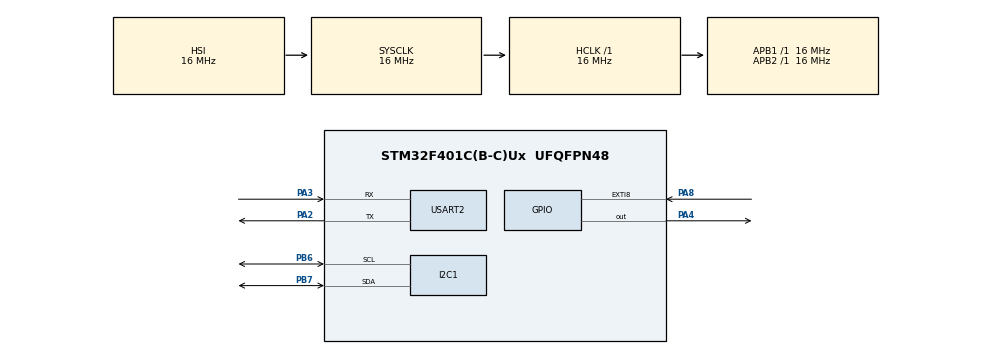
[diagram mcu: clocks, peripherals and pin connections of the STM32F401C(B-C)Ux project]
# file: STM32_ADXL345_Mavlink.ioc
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I2C1.I2C_Mode=I2C_Fast
Mcu.Family=STM32F4
Mcu.Name=STM32F401C(B-C)Ux
Mcu.Package=UFQFPN48
NVIC.EXTI9_5_IRQn=true\:0\:0\:false\:false\:true\:true\:true\:true
NVIC.PriorityGroup=NVIC_PRIORITYGROUP_4
NVIC.USART2_IRQn=true\:0\:0\:false\:false\:true\:true\:true\:true
PA13.Mode=Serial_Wire
PA13.Signal=SYS_JTMS-SWDIO
PA14.Mode=Serial_Wire
PA14.Signal=SYS_JTCK-SWCLK
PA2.Mode=Asynchronous
PA2.Signal=USART2_TX
PA3.Mode=Asynchronous
PA3.Signal=USART2_RX
PA4.GPIO_Speed=GPIO_SPEED_FREQ_HIGH
PA4.Signal=GPIO_Output
PA8.GPIO_PuPd=GPIO_PULLUP
PA8.Signal=GPXTI8
PB6.Mode=I2C
PB6.Signal=I2C1_SCL
PB7.Mode=I2C
PB7.Signal=I2C1_SDA
ProjectManager.HeapSize=0x200
ProjectManager.StackSize=0x400
ProjectManager.TargetToolchain=STM32CubeIDE
RCC.AHBFreq_Value=16000000
RCC.APB1Freq_Value=16000000
RCC.APB2Freq_Value=16000000
RCC.CortexFreq_Value=16000000
RCC.HSE_VALUE=25000000
RCC.HSI_VALUE=16000000
RCC.LSE_VALUE=32768
RCC.SYSCLKFreq_VALUE=16000000
RCC.VCOOutputFreq_Value=192000000
USART2.VirtualMode=VM_ASYNC
board=custom

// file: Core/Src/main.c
/* USER CODE BEGIN Header */
/**
  ******************************************************************************
  * @file           : main.c
  * @brief          : Main program body
  ******************************************************************************
  * @attention
  *
  * Copyright (c) 2025 STMicroelectronics.
  * All rights reserved.
  *
  * This software is licensed under terms that can be found in the LICENSE file
  * in the root directory of this software component.
  * If no LICENSE file comes with this software, it is provided AS-IS.
  *
  ******************************************************************************
  */
/* USER CODE END Header */
#include "main.h"

/* USER CODE BEGIN Includes */
#include "adxl345.h"
#include "adxl345/mavlink.h"
#include "adxl345/mavlink_msg_ins_accel.h"
/* USER CODE END Includes */

/* USER CODE BEGIN PD */
#define ACC_X_OFFSET -1.29
#define ACC_Y_OFFSET -2.8
#define ACC_Z_OFFSET 0
/* USER CODE END PD */

I2C_HandleTypeDef hi2c1;

UART_HandleTypeDef huart2;

void SystemClock_Config(void);
static void MX_GPIO_Init(void);
static void MX_USART2_UART_Init(void);
static void MX_I2C1_Init(void);

int main(void)
{

  /* MCU Configuration--------------------------------------------------------*/

  /* Reset of all peripherals, Initializes the Flash interface and the Systick. */
  HAL_Init();

  /* Configure the system clock */
  SystemClock_Config();

  /* Initialize all configured peripherals */
  MX_GPIO_Init();
  MX_USART2_UART_Init();
  MX_I2C1_Init();
  /* USER CODE BEGIN 2 */
  ADXL345_Init();

  uint8_t buf[MAVLINK_MAX_PACKET_LEN];
  mavlink_message_t msg;

  //float ax, ay, az; //переменные для хранения значений с аккселерометра

  //uint8_t devid = ADXL345_ReadDEVID();
  uint8_t devid = 0;
  if (ADXL345_ReadDEVID(&devid) == HAL_OK) {
      printf("ADXL345 DEVID: 0x%02X\n", devid);
  } else {
      printf("Ошибка чтения DEVID\n");
  }

  uint32_t last_time = 0; // переменная для работы счетчика
  const uint32_t interval_ms = 20; // 50 Гц - частота обновления данных аккселерометра

  void HAL_GPIO_EXTI_Callback(uint16_t GPIO_Pin)
  {
      if (GPIO_Pin == GPIO_PIN_8)  // проверяем, что это именно PA8
      {
          float ax, ay, az;
          ADXL345_ReadAccel(&ax, &ay, &az);
          uint64_t time_usec = HAL_GetTick();
          mavlink_msg_ins_accel_pack(
          	            1,      // system_id
          	            200,    // component_id
          	            &msg,
          	            time_usec,
          	            ax + ACC_X_OFFSET,
          	            ay + ACC_Y_OFFSET,
          	            az + ACC_Z_OFFSET
          	        ); //формируем пакет

          	        uint16_t len = mavlink_msg_to_send_buffer(buf, &msg);
          	        HAL_UART_Transmit(&huart2, buf, len, HAL_MAX_DELAY);
      }
  }

  /* USER CODE END 2 */

  /* Infinite loop */
  while (1)
  {

    /* USER CODE BEGIN 3 */
/*
	    uint32_t now = HAL_GetTick();
	    if ((now - last_time) >= interval_ms)
	    {
	        last_time = now;

	        float ax, ay, az;
	        uint64_t time_usec = now;

	        ADXL345_ReadAccel(&ax, &ay, &az); // читаем данные с аккселерометра

	        mavlink_msg_ins_accel_pack(
	            1,      // system_id
	            200,    // component_id
	            &msg,
	            time_usec,
	            ax + ACC_X_OFFSET,
	            ay + ACC_Y_OFFSET,
	            az + ACC_Z_OFFSET
	        ); //формируем пакет

	        uint16_t len = mavlink_msg_to_send_buffer(buf, &msg);
	        HAL_UART_Transmit(&huart2, buf, len, HAL_MAX_DELAY);
*/

/*
	        char buf[64];
	        sprintf(buf, "%.3f %.3f %.3f\n", ax, ay, az);
	        HAL_UART_Transmit(&huart2, (uint8_t*)buf, strlen(buf), HAL_MAX_DELAY);
*/

  }
  /* USER CODE END 3 */
}

void SystemClock_Config(void)
{
  RCC_OscInitTypeDef RCC_OscInitStruct = {0};
  RCC_ClkInitTypeDef RCC_ClkInitStruct = {0};

  /** Configure the main internal regulator output voltage
  */
  __HAL_RCC_PWR_CLK_ENABLE();
  __HAL_PWR_VOLTAGESCALING_CONFIG(PWR_REGULATOR_VOLTAGE_SCALE2);

  /** Initializes the RCC Oscillators according to the specified parameters
  * in the RCC_OscInitTypeDef structure.
  */
  RCC_OscInitStruct.OscillatorType = RCC_OSCILLATORTYPE_HSI;
  RCC_OscInitStruct.HSIState = RCC_HSI_ON;
  RCC_OscInitStruct.HSICalibrationValue = RCC_HSICALIBRATION_DEFAULT;
  RCC_OscInitStruct.PLL.PLLState = RCC_PLL_NONE;
  if (HAL_RCC_OscConfig(&RCC_OscInitStruct) != HAL_OK)
  {
    Error_Handler();
  }

  /** Initializes the CPU, AHB and APB buses clocks
  */
  RCC_ClkInitStruct.ClockType = RCC_CLOCKTYPE_HCLK|RCC_CLOCKTYPE_SYSCLK
                              |RCC_CLOCKTYPE_PCLK1|RCC_CLOCKTYPE_PCLK2;
  RCC_ClkInitStruct.SYSCLKSource = RCC_SYSCLKSOURCE_HSI;
  RCC_ClkInitStruct.AHBCLKDivider = RCC_SYSCLK_DIV1;
  RCC_ClkInitStruct.APB1CLKDivider = RCC_HCLK_DIV1;
  RCC_ClkInitStruct.APB2CLKDivider = RCC_HCLK_DIV1;

  if (HAL_RCC_ClockConfig(&RCC_ClkInitStruct, FLASH_LATENCY_0) != HAL_OK)
  {
    Error_Handler();
  }
}

static void MX_I2C1_Init(void)
{

  hi2c1.Instance = I2C1;
  hi2c1.Init.ClockSpeed = 400000;
  hi2c1.Init.DutyCycle = I2C_DUTYCYCLE_2;
  hi2c1.Init.OwnAddress1 = 0;
  hi2c1.Init.AddressingMode = I2C_ADDRESSINGMODE_7BIT;
  hi2c1.Init.DualAddressMode = I2C_DUALADDRESS_DISABLE;
  hi2c1.Init.OwnAddress2 = 0;
  hi2c1.Init.GeneralCallMode = I2C_GENERALCALL_DISABLE;
  hi2c1.Init.NoStretchMode = I2C_NOSTRETCH_DISABLE;
  if (HAL_I2C_Init(&hi2c1) != HAL_OK)
  {
    Error_Handler();
  }

}

static void MX_USART2_UART_Init(void)
{

  huart2.Instance = USART2;
  huart2.Init.BaudRate = 115200;
  huart2.Init.WordLength = UART_WORDLENGTH_8B;
  huart2.Init.StopBits = UART_STOPBITS_1;
  huart2.Init.Parity = UART_PARITY_NONE;
  huart2.Init.Mode = UART_MODE_TX_RX;
  huart2.Init.HwFlowCtl = UART_HWCONTROL_NONE;
  huart2.Init.OverSampling = UART_OVERSAMPLING_16;
  if (HAL_UART_Init(&huart2) != HAL_OK)
  {
    Error_Handler();
  }

}

static void MX_GPIO_Init(void)
{
  GPIO_InitTypeDef GPIO_InitStruct = {0};

  /* GPIO Ports Clock Enable */
  __HAL_RCC_GPIOA_CLK_ENABLE();
  __HAL_RCC_GPIOB_CLK_ENABLE();

  /*Configure GPIO pin Output Level */
  HAL_GPIO_WritePin(GPIOA, GPIO_PIN_4, GPIO_PIN_RESET);

  /*Configure GPIO pin : PA4 */
  GPIO_InitStruct.Pin = GPIO_PIN_4;
  GPIO_InitStruct.Mode = GPIO_MODE_OUTPUT_PP;
  GPIO_InitStruct.Pull = GPIO_NOPULL;
  GPIO_InitStruct.Speed = GPIO_SPEED_FREQ_HIGH;
  HAL_GPIO_Init(GPIOA, &GPIO_InitStruct);

  /*Configure GPIO pin : PA8 */
  GPIO_InitStruct.Pin = GPIO_PIN_8;
  GPIO_InitStruct.Mode = GPIO_MODE_IT_RISING;
  GPIO_InitStruct.Pull = GPIO_PULLUP;
  HAL_GPIO_Init(GPIOA, &GPIO_InitStruct);

  /* EXTI interrupt init*/
  HAL_NVIC_SetPriority(EXTI9_5_IRQn, 0, 0);
  HAL_NVIC_EnableIRQ(EXTI9_5_IRQn);

}

void Error_Handler(void)
{
  __disable_irq();
  while (1)
  {
  }
}
